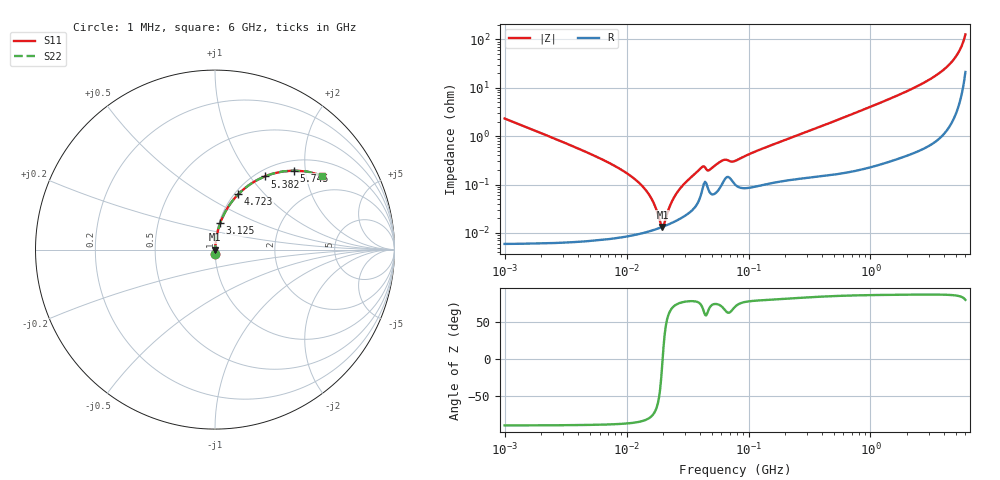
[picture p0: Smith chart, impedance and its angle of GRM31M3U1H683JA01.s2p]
!Murata Part Number: GRM31M3U1H683JA01
!These Parameters are Measured in Series Mode Connection
!Data Generated on Mar 30, 2021
!  o--ll--o
!Port1  Port2
!  o------o
!Operation Temp=25[degC], DC Bias Voltage=0[V]
!Freq. Start=1000[kHz] Stop=6[GHz] 401[Steps]
# Hz S RI R 50
!Freq.(Hz) S11(Real) S11(Imag) S21(Real) S21(Imag) S12(Real) S12(Imag) S22(Real) S22(Imag)
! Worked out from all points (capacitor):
!   401 points, 1 MHz to 6 GHz, reference 50 ohm
!   read as one part in series: C = 68.6 nF near 1.044 MHz
!   lowest |Z| = 13.4 mohm at 19.68 MHz (marker M1)
!   series resonance near 19.75 MHz, so ESL is about 950 pH
!   S11 on the Smith chart (normalised r, x): 1 MHz: 1.00, -0.05; 3.125 GHz: 1.01, +0.31; 4.723 GHz: 1.04, +0.72; 5.382 GHz: 1.10, +1.18; 5.745 GHz: 1.21, +1.73; 6 GHz: 1.42, +2.48
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1000000  0.000595 -0.0231  0.9994 0.0231  0.9994 0.0231  0.000595 -0.0231
4293785  9.28e-05 -0.00515  0.9999 0.00515  0.9999 0.00515  9.28e-05 -0.00515
8245209  8.36e-05 -0.00232  0.9999 0.00232  0.9999 0.00232  8.36e-05 -0.00232
1.219603e7  9.45e-05 -0.00118  0.9999 0.00118  0.9999 0.00118  9.45e-05 -0.00118
1.549236e7  0.000109 -0.000577  0.9999 0.000577  0.9999 0.000577  0.000109 -0.000577
1.690048e7  0.000116 -0.000369  0.9999 0.000369  0.9999 0.000369  0.000116 -0.000369
1.843659e7  0.000125 -0.000163  0.9999 0.000163  0.9999 0.000163  0.000125 -0.000163
1.967962e7  0.000133 -8.7e-06  0.9999 8.7e-06  0.9999 8.7e-06  0.000133 -8.7e-06
2.055453e7  0.000139 9.41e-05  0.9999 -9.41e-05  0.9999 -9.41e-05  0.000139 9.41e-05
2.341962e7  0.000161 0.000406  0.9998 -0.000406  0.9998 -0.000406  0.000161 0.000406
2.610999e7  0.000184 0.000674  0.9998 -0.000674  0.9998 -0.000674  0.000184 0.000674
4.033799e7  0.000572 0.00206  0.9994 -0.00206  0.9994 -0.00206  0.000572 0.00206
4.800399e7  0.000696 0.00189  0.9993 -0.00189  0.9993 -0.00189  0.000696 0.00189
6.23192e7  0.00116 0.00299  0.9988 -0.00299  0.9988 -0.00299  0.00116 0.00299
7.745967e7  0.00101 0.00289  0.999 -0.00289  0.999 -0.00289  0.00101 0.00289
3.325952e8  0.00159 0.0134  0.9984 -0.0134  0.9984 -0.0134  0.00159 0.0134
1.428092e9  0.00634 0.058  0.9937 -0.058  0.9937 -0.058  0.00634 0.058
3.124567e9  0.0291 0.1478  0.9709 -0.1478  0.9709 -0.1478  0.0291 0.1478
4.723371e9  0.1291 0.3079  0.8709 -0.3079  0.8709 -0.3079  0.1291 0.3079
5.38176e9  0.2771 0.4077  0.7229 -0.4077  0.7229 -0.4077  0.2771 0.4077
5.744609e9  0.4384 0.4404  0.5616 -0.4404  0.5616 -0.4404  0.4384 0.4404
6e9  0.5975 0.4126  0.4025 -0.4126  0.4025 -0.4126  0.5975 0.4126
